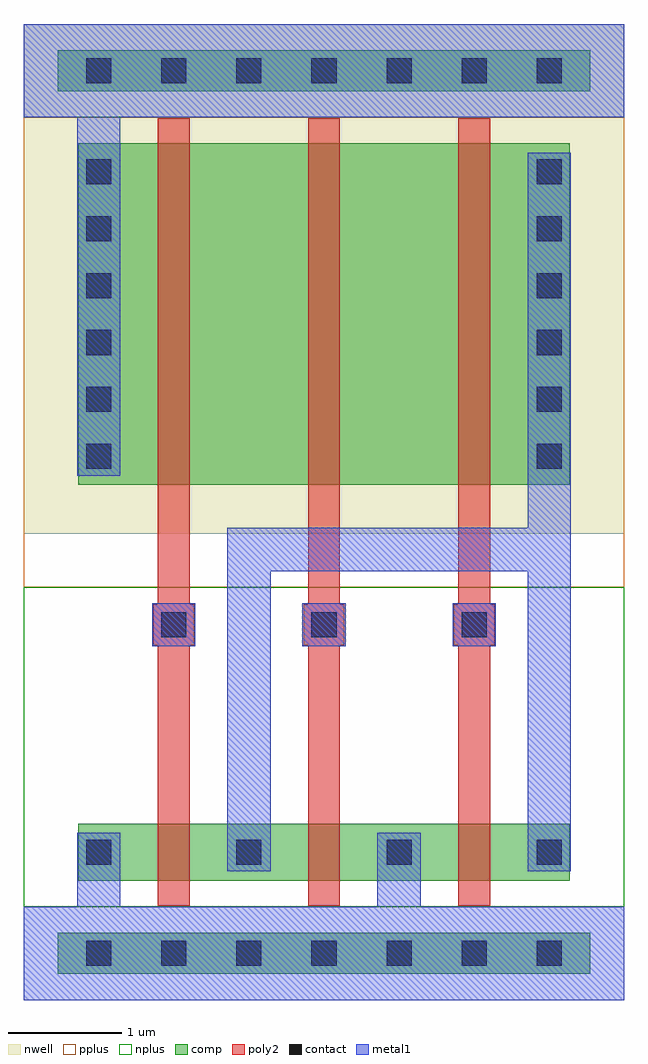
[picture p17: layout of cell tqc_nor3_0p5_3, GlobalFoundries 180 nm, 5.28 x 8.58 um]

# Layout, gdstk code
import gdstk
lib = gdstk.Library(unit=1e-6, precision=1e-09)
def R(c, l, rs):  # rectangles x0, y0, x1, y1
    for r in rs: c.add(gdstk.rectangle(r[:2], r[2:], *l))
def A(c, l, x, y, w, h, nx, ny, dx, dy):  # array of equal rectangles
    R(c, l, [(x+i*dx, y+j*dy, x+i*dx+w, y+j*dy+h) for i in range(nx) for j in range(ny)])
nwell = (21, 0)
comp = (22, 0)
poly2 = (30, 0)
pplus = (31, 0)
nplus = (32, 0)
contact = (33, 0)
metal1 = (34, 0)

tqc_nor3_0p5_3 = lib.new_cell('tqc_nor3_0p5_3')
R(tqc_nor3_0p5_3, nwell, [(0,4.1,5.28,8.58)])
R(tqc_nor3_0p5_3, comp, [(0.3,0.23,4.98,0.59), (0.48,1.05,4.8,1.55), (0.48,4.53,4.8,7.53), (0.3,7.99,4.98,8.35)])
A(tqc_nor3_0p5_3, poly2, 1.18, 0.83, 0.28, 6.92, 3, 1, 1.32, 0)
A(tqc_nor3_0p5_3, poly2, 1.14, 3.12, 0.36, 0.36, 3, 1, 1.32, 0)
R(tqc_nor3_0p5_3, pplus, [(0,0,5.28,0.82), (0,3.63,5.28,7.76)])
R(tqc_nor3_0p5_3, nplus, [(0,0.82,5.28,3.63), (0,7.76,5.28,8.58)])
A(tqc_nor3_0p5_3, contact, 0.55, 0.3, 0.22, 0.22, 7, 2, 0.66, 7.76)
A(tqc_nor3_0p5_3, contact, 0.55, 1.19, 0.22, 0.22, 4, 1, 1.32, 0)
A(tqc_nor3_0p5_3, contact, 1.21, 3.19, 0.22, 0.22, 3, 1, 1.32, 0)
A(tqc_nor3_0p5_3, contact, 0.55, 4.67, 0.22, 0.22, 1, 6, 0, 0.5)
A(tqc_nor3_0p5_3, contact, 4.51, 4.67, 0.22, 0.22, 1, 6, 0, 0.5)
A(tqc_nor3_0p5_3, metal1, 1.13, 3.11, 0.38, 0.38, 3, 1, 1.32, 0)
R(tqc_nor3_0p5_3, metal1, [(0,0,5.28,0.82), (0.47,0,0.85,1.47), (3.11,0,3.49,1.47), (1.79,1.13,2.17,1.47), (4.43,1.13,4.81,1.47), (1.79,1.37,2.17,4.15), (4.43,1.37,4.81,4.15), (1.79,3.77,4.81,4.15), (4.43,3.77,4.81,4.71), (0.47,4.61,0.85,8.58), (4.43,4.61,4.81,7.45), (0,7.76,5.28,8.58)])

lib.write_gds('tqc_nor3_0p5_3.gds')
